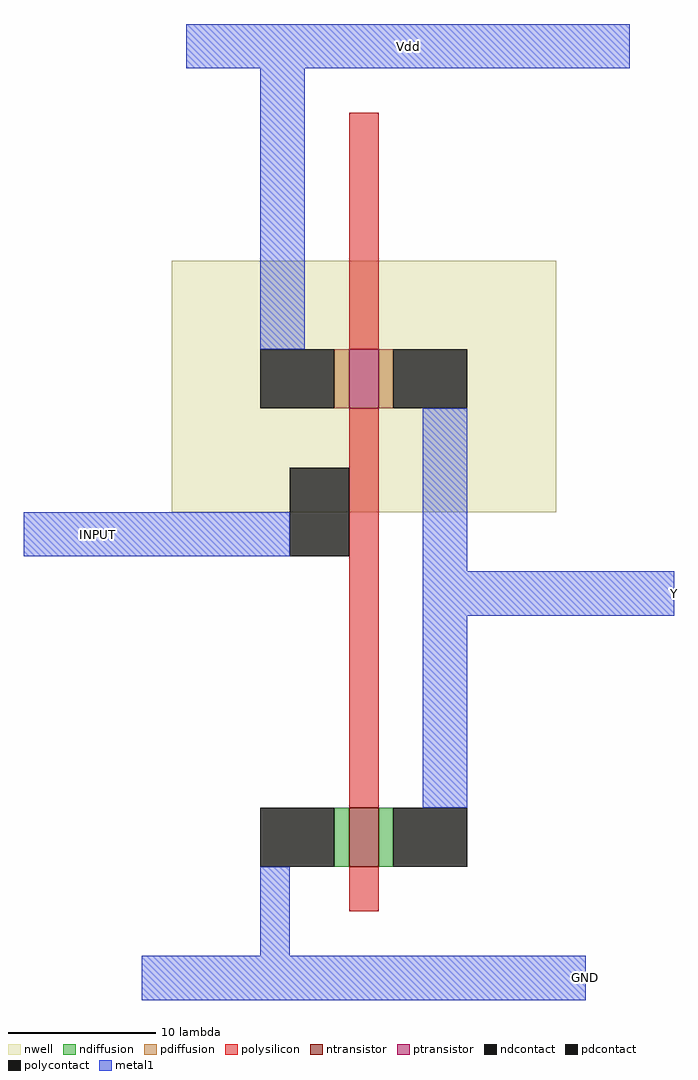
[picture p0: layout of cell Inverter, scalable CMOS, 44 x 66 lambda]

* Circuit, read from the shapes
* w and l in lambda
.subckt Inverter GND INPUT Vdd Y
M1 Y INPUT GND VSUBS nfet w=4 l=2
M2 Y INPUT Vdd n1 pfet w=4 l=2
.ends

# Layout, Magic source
magic
tech scmos
<< nwell >>
rect 0 0 26 17
<< ntransistor >>
rect 12 -24 14 -20
<< ptransistor >>
rect 12 7 14 11
<< ndiffusion >>
rect 11 -24 12 -20
rect 14 -24 15 -20
<< pdiffusion >>
rect 11 7 12 11
rect 14 7 15 11
<< ndcontact >>
rect 6 -24 11 -20
rect 15 -24 20 -20
<< pdcontact >>
rect 6 7 11 11
rect 15 7 20 11
<< polysilicon >>
rect 12 11 14 27
rect 12 -20 14 7
rect 12 -27 14 -24
<< polycontact >>
rect 8 -3 12 3
<< metal1 >>
rect 1 30 31 33
rect 6 11 9 30
rect -10 -3 8 0
rect 17 -4 20 7
rect 17 -7 34 -4
rect 17 -20 20 -7
rect 6 -30 8 -24
rect -2 -33 28 -30
<< labels >>
rlabel metal1 28 -33 28 -30 1 GND
rlabel metal1 34 -7 34 -4 7 Y
rlabel metal1 1 30 31 33 5 Vdd
rlabel metal1 -10 -3 0 0 7 INPUT
<< end >>
